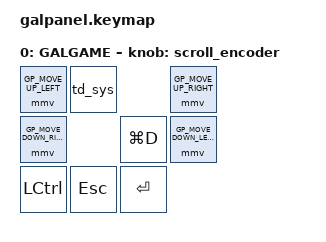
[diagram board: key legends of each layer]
/*
 * GALPANEL V2.1 default keymap
 *
 * Copyright (c) 2026 GALPANEL contributors
 * SPDX-License-Identifier: MIT
 */

#include <behaviors.dtsi>
#include <behaviors/mouse_move.dtsi>
#include <dt-bindings/zmk/bt.h>
#include <dt-bindings/zmk/keys.h>
#include <dt-bindings/zmk/outputs.h>
#define ZMK_POINTING_DEFAULT_SCRL_VAL 100
#include <dt-bindings/zmk/pointing.h>

#define GP_MOVE_UP_LEFT     MOVE(-ZMK_POINTING_DEFAULT_MOVE_VAL, -ZMK_POINTING_DEFAULT_MOVE_VAL)
#define GP_MOVE_UP_RIGHT    MOVE(ZMK_POINTING_DEFAULT_MOVE_VAL, -ZMK_POINTING_DEFAULT_MOVE_VAL)
#define GP_MOVE_DOWN_RIGHT  MOVE(ZMK_POINTING_DEFAULT_MOVE_VAL, ZMK_POINTING_DEFAULT_MOVE_VAL)
#define GP_MOVE_DOWN_LEFT   MOVE(-ZMK_POINTING_DEFAULT_MOVE_VAL, ZMK_POINTING_DEFAULT_MOVE_VAL)

/ {
    behaviors {
        /* SYS is handled by the status module so tap, double-tap and the
         * guarded six-second bond-clear action cannot be duplicated by a
         * normal key binding. */
        td_sys: tap_dance_sys {
            compatible = "zmk,behavior-tap-dance";
            #binding-cells = <0>;
            tapping-term-ms = <300>;
            bindings = <&none>, <&none>;
        };

        scroll_encoder: scroll_encoder {
            compatible = "zmk,behavior-sensor-rotate";
            #sensor-binding-cells = <0>;
            /* Hardware reports clockwise as the negative direction.
             * First binding is CCW, second binding is CW. */
            bindings = <&msc SCRL_UP>, <&msc SCRL_DOWN>;
            /* &msc is hold-style; 20 ms guarantees one wheel report per
             * encoder detent instead of releasing before the first tick. */
            tap-ms = <20>;
        };
    };

    keymap {
        compatible = "zmk,keymap";

        base_layer {
            display-name = "GALGAME";

            /* D2 FAST, D3 middle, D4 NEXT, D5 upper-right,
             * D7 lower-right, D8 SYS, D14 lower-left,
             * D18 upper-left, D19 EC11 press. */
            bindings = <
                &kp LCTRL
                &kp ESC
                &kp ENTER
                &mmv GP_MOVE_UP_RIGHT
                &mmv GP_MOVE_DOWN_RIGHT
                &td_sys
                &mmv GP_MOVE_DOWN_LEFT
                &mmv GP_MOVE_UP_LEFT
                &kp LG(D)
            >;

            sensor-bindings = <&scroll_encoder>;
        };
    };
};
